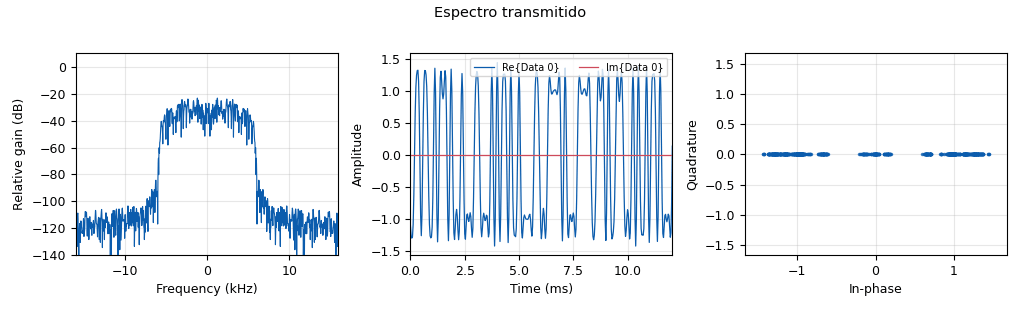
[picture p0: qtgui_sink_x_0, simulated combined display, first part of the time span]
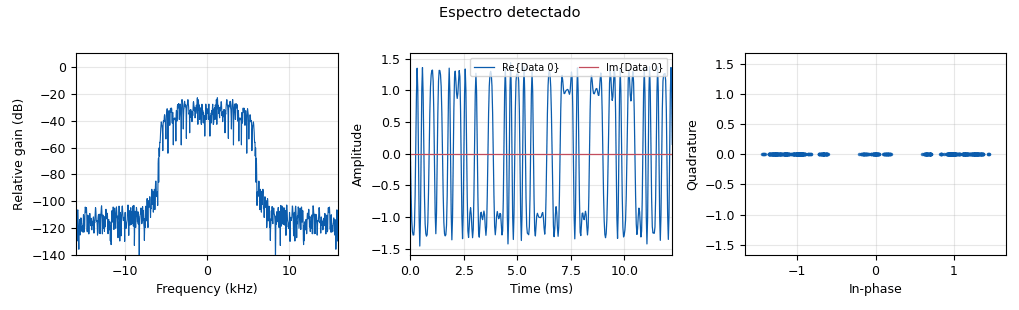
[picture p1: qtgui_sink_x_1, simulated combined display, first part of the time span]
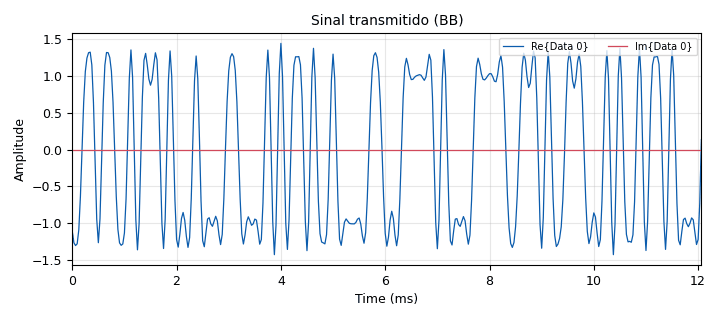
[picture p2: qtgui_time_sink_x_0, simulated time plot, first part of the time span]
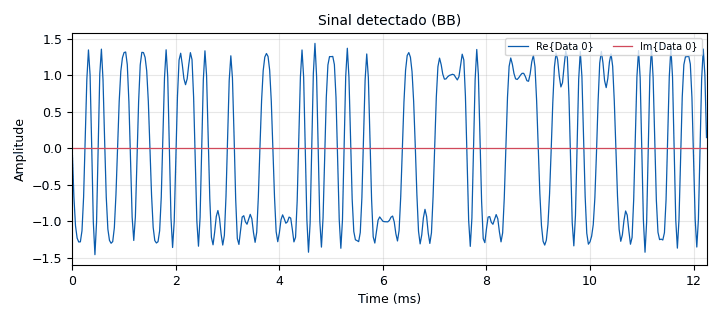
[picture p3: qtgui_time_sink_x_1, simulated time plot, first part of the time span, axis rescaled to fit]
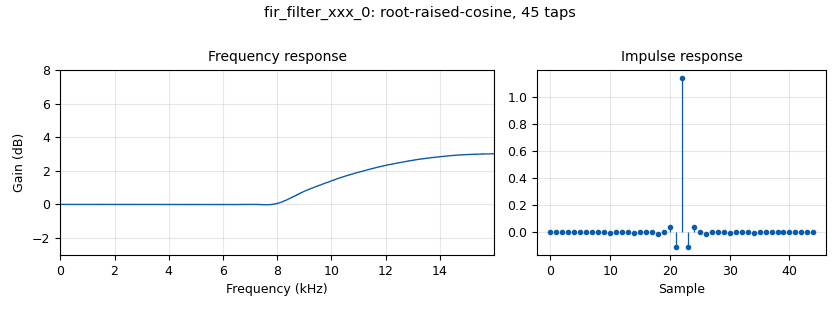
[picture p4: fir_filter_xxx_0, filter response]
options:
  parameters:
    generate_options: qt_gui
    id: mBPSK
    output_language: python
    title: Modulação BPSK
  states: {}

blocks:
- name: BPSK
  id: variable_constellation
  parameters:
    const_points: '[-1+0j, 1+0j]'
    dims: '1'
    normalization: digital.constellation.AMPLITUDE_NORMALIZATION
    precision: '8'
    rot_sym: '2'
    sym_map: '[0, 1,]'
    type: calcdist
  states: {}
- name: rolloff
  id: variable
  parameters:
    value: '0.5'
  states: {}
- name: rrc_taps
  id: variable
  parameters:
    value: firdes.root_raised_cosine(1.0,samp_rate,samp_rate,rolloff,11*sps)
  states: {}
- name: samp_rate
  id: variable
  parameters:
    value: '32000'
  states: {}
- name: sps
  id: variable
  parameters:
    value: '4'
  states: {}
- name: analog_random_source_x_0
  id: analog_random_source_x
  parameters:
    max: '256'
    min: '0'
    num_samps: '40'
    repeat: 'True'
    type: byte
  states: {}
- name: blocks_throttle_0
  id: blocks_throttle
  parameters:
    samples_per_second: samp_rate
    type: complex
  states: {}
- name: digital_constellation_modulator_0
  id: digital_constellation_modulator
  parameters:
    constellation: BPSK
    differential: 'False'
    excess_bw: rolloff
    samples_per_symbol: sps
    verbose: 'True'
  states: {}
- name: fir_filter_xxx_0
  id: fir_filter_xxx
  parameters:
    decim: '1'
    taps: rrc_taps
    type: ccc
  states: {}
- name: qtgui_sink_x_0
  id: qtgui_sink_x
  parameters:
    bw: samp_rate
    fc: '0'
    fftsize: '1024'
    name: '"Espectro transmitido"'
    type: complex
  states: {}
- name: qtgui_sink_x_1
  id: qtgui_sink_x
  parameters:
    bw: samp_rate
    fc: '0'
    fftsize: '1024'
    name: '"Espectro detectado"'
    type: complex
  states: {}
- name: qtgui_time_sink_x_0
  id: qtgui_time_sink_x
  parameters:
    autoscale: 'True'
    grid: 'True'
    name: '"Sinal transmitido (BB)"'
    size: '1024'
    srate: samp_rate
    type: complex
  states: {}
- name: qtgui_time_sink_x_1
  id: qtgui_time_sink_x
  parameters:
    name: '"Sinal detectado (BB)"'
    size: '1024'
    srate: samp_rate
    type: complex
  states: {}
- name: virtual_sink_0
  id: virtual_sink
  parameters:
    stream_id: BPSK_mod
  states: {}
- name: virtual_source_0
  id: virtual_source
  parameters:
    stream_id: BPSK_mod
  states: {}

connections:
- [analog_random_source_x_0, '0', digital_constellation_modulator_0, '0']
- [blocks_throttle_0, '0', qtgui_time_sink_x_0, '0']
- [blocks_throttle_0, '0', virtual_sink_0, '0']
- [digital_constellation_modulator_0, '0', blocks_throttle_0, '0']
- [digital_constellation_modulator_0, '0', qtgui_sink_x_0, '0']
- [fir_filter_xxx_0, '0', qtgui_sink_x_1, '0']
- [fir_filter_xxx_0, '0', qtgui_time_sink_x_1, '0']
- [virtual_source_0, '0', fir_filter_xxx_0, '0']

metadata:
  file_format: 1
  grc_version: v3.11.0.0git-244-g7c7894df
